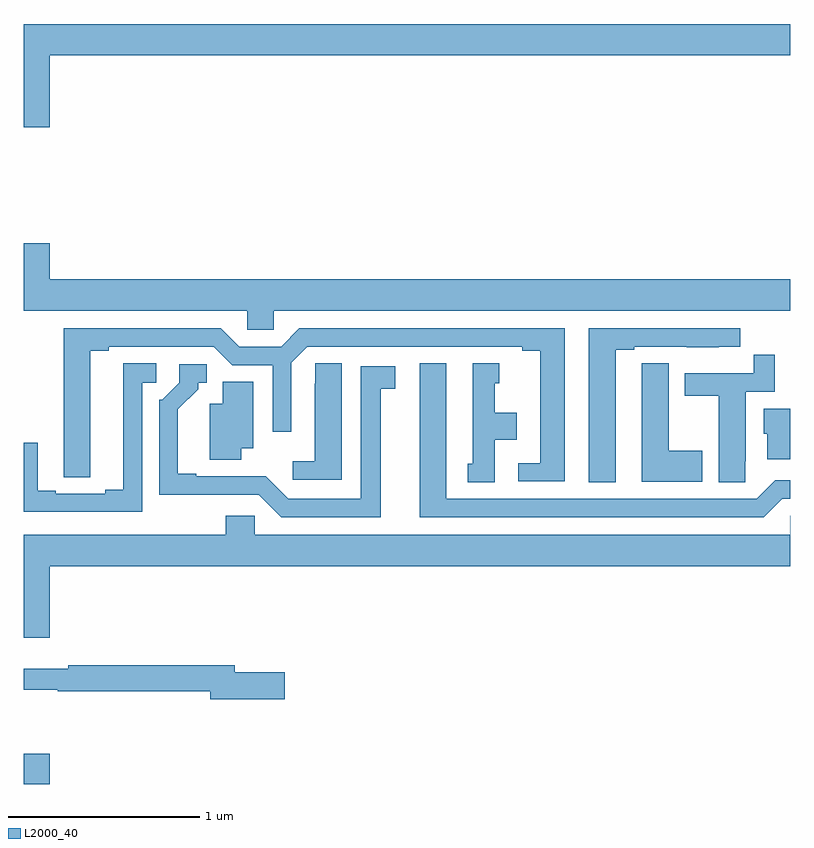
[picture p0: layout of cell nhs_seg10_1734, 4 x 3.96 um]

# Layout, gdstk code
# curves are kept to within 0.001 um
import gdstk
lib = gdstk.Library(unit=1e-6, precision=1e-09)
def R(c, l, rs):  # rectangles x0, y0, x1, y1
    for r in rs: c.add(gdstk.rectangle(r[:2], r[2:], *l))
def P(c, l, *ps):  # polygons
    for p in ps: c.add(gdstk.Polygon(p, *l))
L2000_40 = (2000, 40)

nhs_seg10_1734 = lib.new_cell('nhs_seg10_1734')
R(nhs_seg10_1734, L2000_40, [(201,1312.5,201.136,1312.657)])
P(nhs_seg10_1734, L2000_40, [(201.136,1316.3),(205,1316.3),(205,1316.464),(201,1316.464),(201,1315.926),(201.136,1315.926)],
  [(201.136,1315.321),(201,1315.321),(201,1314.968),(202.167,1314.968),(202.167,1314.87),(202.305,1314.87),(202.305,1314.968),(205,1314.968),(205,1315.132),(201.136,1315.132)],
  [(203.824,1314.876),(202.439,1314.876),(202.343,1314.78),(202.125,1314.78),(202.029,1314.876),(201.209,1314.876),(201.21,1314.1),(201.349,1314.1),(201.349,1314.76),(201.445,1314.76),(201.445,1314.78),(201.993,1314.78),(202.089,1314.684),(202.299,1314.684),(202.299,1314.336),(202.395,1314.336),(202.395,1314.696),(202.479,1314.78),(203.6,1314.78),(203.6,1314.76),(203.696,1314.76),(203.696,1314.174),(203.58,1314.174),(203.58,1314.078),(203.824,1314.078)],
  [(204.088,1314.765),(204.184,1314.765),(204.184,1314.78),(204.46,1314.78),(204.46,1314.779),(204.626,1314.779),(204.626,1314.78),(204.739,1314.78),(204.739,1314.876),(203.948,1314.876),(203.948,1314.073),(204.088,1314.073)],
  [(204.765,1314.184),(204.766,1314.184),(204.766,1314.546),(204.917,1314.546),(204.917,1314.739),(204.808,1314.739),(204.808,1314.642),(204.449,1314.642),(204.449,1314.526),(204.626,1314.526),(204.626,1314.073),(204.765,1314.073)],
  [(201.618,1314.594),(201.691,1314.594),(201.691,1314.695),(201.521,1314.695),(201.521,1314.035),(201.425,1314.035),(201.425,1314.015),(201.169,1314.015),(201.169,1314.03),(201.073,1314.03),(201.073,1314.281),(201,1314.281),(201,1313.919),(201.618,1313.919)],
  [(202.66,1314.695),(202.521,1314.695),(202.521,1314.587),(202.52,1314.587),(202.52,1314.184),(202.404,1314.184),(202.404,1314.087),(202.66,1314.087)],
  [(204.541,1314.237),(204.364,1314.237),(204.364,1314.695),(204.225,1314.695),(204.225,1314.587),(204.224,1314.587),(204.224,1314.077),(204.541,1314.077)],
  [(203.458,1314.296),(203.572,1314.296),(203.572,1314.436),(203.458,1314.436),(203.458,1314.591),(203.482,1314.591),(203.482,1314.694),(203.342,1314.694),(203.342,1314.171),(203.318,1314.171),(203.318,1314.073),(203.458,1314.073)],
  [(204.957,1313.988),(205,1313.988),(205,1314.084),(204.921,1314.084),(204.825,1313.988),(203.206,1313.988),(203.206,1314.694),(203.066,1314.694),(203.066,1313.892),(204.861,1313.892)],
  [(202.864,1314.562),(202.939,1314.562),(202.939,1314.678),(202.76,1314.678),(202.76,1313.988),(202.38,1313.988),(202.262,1314.106),(201.901,1314.105),(201.901,1314.118),(201.805,1314.118),(201.805,1314.454),(201.91,1314.559),(201.91,1314.594),(201.955,1314.594),(201.955,1314.69),(201.813,1314.69),(201.813,1314.594),(201.723,1314.504),(201.708,1314.504),(201.708,1314.008),(202.227,1314.009),(202.344,1313.892),(202.864,1313.892)],
  [(202.135,1314.251),(202.198,1314.251),(202.198,1314.599),(202.04,1314.599),(202.04,1314.484),(201.971,1314.484),(201.971,1314.19),(202.135,1314.19)],
  [(205,1314.457),(204.86,1314.457),(204.86,1314.327),(204.878,1314.327),(204.878,1314.194),(205,1314.194)],
  [(201.136,1313.636),(205,1313.636),(205,1313.898),(204.999,1313.898),(204.999,1313.8),(202.206,1313.8),(202.206,1313.898),(202.055,1313.898),(202.055,1313.8),(201,1313.8),(201,1313.262),(201.136,1313.262)],
  [(202.363,1313.084),(202.102,1313.084),(202.102,1313.12),(201.232,1313.12),(201.232,1313.101),(201,1313.101),(201,1312.992),(201.178,1312.992),(201.178,1312.984),(201.974,1312.984),(201.974,1312.942),(202.363,1312.942)])

lib.write_gds('nhs_seg10_1734.gds')
